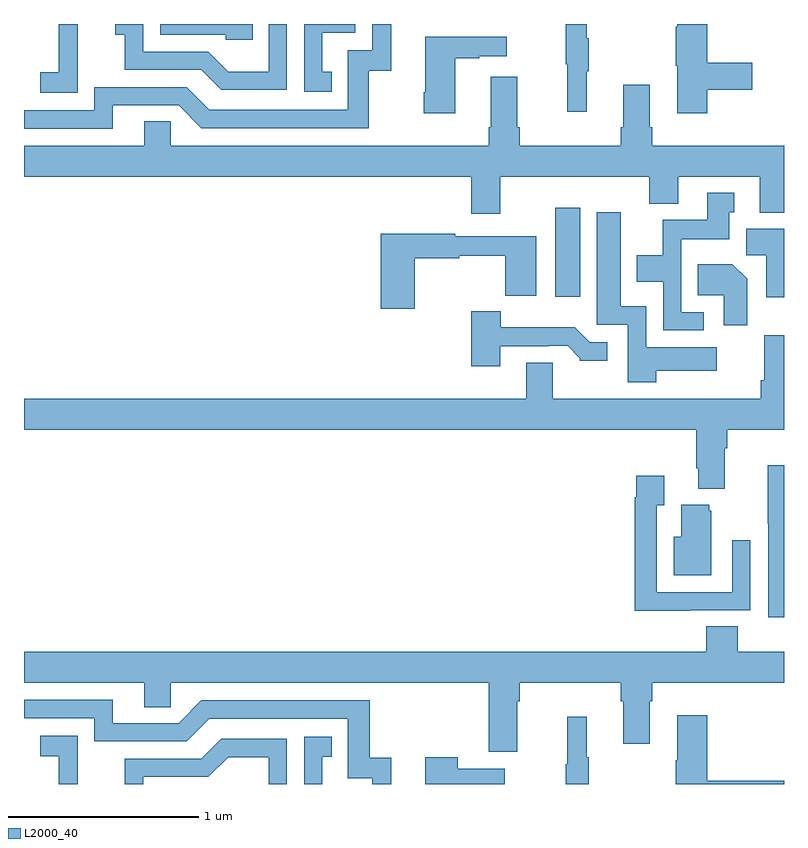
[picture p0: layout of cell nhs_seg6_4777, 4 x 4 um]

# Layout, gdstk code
import gdstk
lib = gdstk.Library(unit=1e-6, precision=1e-09)
def R(c, l, rs):  # rectangles x0, y0, x1, y1
    for r in rs: c.add(gdstk.rectangle(r[:2], r[2:], *l))
def P(c, l, *ps):  # polygons
    for p in ps: c.add(gdstk.Polygon(p, *l))
L2000_40 = (2000, 40)

nhs_seg6_4777 = lib.new_cell('nhs_seg6_4777')
R(nhs_seg6_4777, L2000_40, [(397.796,920.064,397.927,920.533)])
P(nhs_seg6_4777, L2000_40, [(396.203,921.5),(395.718,921.5),(395.718,921.444),(396.063,921.444),(396.063,921.417),(396.203,921.417)],
  [(395.283,921.343),(395.282,921.343),(395.282,921.5),(395.184,921.5),(395.184,921.476),(395.183,921.476),(395.183,921.247),(395.085,921.247),(395.085,921.137),(395.283,921.137)],
  [(396.62,921.249),(396.571,921.249),(396.571,921.453),(396.744,921.453),(396.744,921.5),(396.474,921.5),(396.474,921.144),(396.62,921.144)],
  [(397.961,921.251),(397.972,921.251),(397.972,921.425),(397.961,921.425),(397.961,921.5),(397.851,921.5),(397.851,921.288),(397.858,921.288),(397.858,921.039),(397.961,921.039)],
  [(395.467,921.072),(395.814,921.072),(395.934,920.952),(396.814,920.952),(396.814,921.255),(396.932,921.255),(396.932,921.5),(396.834,921.5),(396.834,921.363),(396.705,921.363),(396.705,921.048),(395.976,921.048),(395.856,921.168),(395.37,921.168),(395.37,921.045),(395,921.045),(395,920.949),(395.467,920.949)],
  [(398.597,921.154),(398.833,921.154),(398.833,921.296),(398.597,921.296),(398.597,921.5),(398.438,921.5),(398.438,921.485),(398.431,921.485),(398.431,921.279),(398.438,921.279),(398.438,921.03),(398.597,921.03)],
  [(396.384,921.5),(396.288,921.5),(396.288,921.25),(396.074,921.25),(395.97,921.354),(395.628,921.354),(395.628,921.5),(395.481,921.5),(395.481,921.443),(395.53,921.443),(395.53,921.258),(395.933,921.258),(396.038,921.153),(396.384,921.153)],
  [(397.27,921.319),(397.397,921.319),(397.397,921.329),(397.54,921.329),(397.54,921.433),(397.112,921.433),(397.112,921.142),(397.105,921.142),(397.105,921.03),(397.27,921.03)],
  [(397.507,920.696),(398.291,920.696),(398.291,920.555),(398.443,920.555),(398.443,920.696),(398.873,920.696),(398.873,920.507),(399,920.507),(399,920.86),(398.306,920.86),(398.306,920.956),(398.293,920.956),(398.293,921.181),(398.153,921.181),(398.153,920.956),(398.141,920.956),(398.141,920.86),(397.61,920.86),(397.61,920.956),(397.597,920.956),(397.597,921.223),(397.457,921.223),(397.457,920.956),(397.445,920.956),(397.445,920.86),(395.772,920.86),(395.772,920.987),(395.633,920.987),(395.633,920.86),(395,920.86),(395,920.696),(397.355,920.696),(397.355,920.502),(397.507,920.502)],
  [(398.578,919.983),(398.46,919.983),(398.46,920.366),(398.713,920.366),(398.713,920.508),(398.737,920.508),(398.737,920.611),(398.597,920.611),(398.597,920.47),(398.362,920.47),(398.362,920.284),(398.225,920.284),(398.225,920.144),(398.364,920.144),(398.364,919.887),(398.578,919.887)],
  [(398.327,919.676),(398.647,919.676),(398.647,919.798),(398.274,919.798),(398.274,920.014),(398.14,920.014),(398.14,920.509),(398.015,920.509),(398.015,919.917),(398.178,919.917),(398.178,919.614),(398.327,919.614)],
  [(399,920.422),(398.801,920.422),(398.801,920.284),(398.906,920.284),(398.906,920.063),(399,920.063)],
  [(397.056,920.266),(397.29,920.266),(397.29,920.281),(397.534,920.281),(397.534,920.069),(397.696,920.069),(397.696,920.382),(397.271,920.382),(397.271,920.395),(396.878,920.395),(396.878,920.001),(397.056,920.001)],
  [(398.806,920.158),(398.728,920.236),(398.545,920.236),(398.545,920.072),(398.684,920.072),(398.684,919.914),(398.806,919.914)],
  [(397.507,919.803),(397.763,919.803),(397.763,919.806),(397.862,919.806),(397.926,919.742),(397.926,919.727),(398.071,919.727),(398.071,919.824),(397.977,919.824),(397.899,919.903),(397.51,919.903),(397.51,919.987),(397.355,919.987),(397.355,919.698),(397.507,919.698)],
  [(398.689,919.268),(398.702,919.268),(398.702,919.364),(399,919.364),(399,919.861),(398.896,919.861),(398.896,919.624),(398.878,919.624),(398.878,919.528),(397.783,919.528),(397.783,919.718),(397.643,919.718),(397.643,919.528),(395,919.528),(395,919.364),(398.537,919.364),(398.537,919.162),(398.549,919.162),(398.549,919.055),(398.689,919.055)],
  [(399,919.178),(398.914,919.178),(398.914,918.871),(398.916,918.871),(398.916,918.378),(399,918.378)],
  [(398.507,918.414),(398.823,918.414),(398.823,918.784),(398.727,918.784),(398.727,918.51),(398.331,918.51),(398.331,918.967),(398.371,918.967),(398.371,919.123),(398.223,919.123),(398.223,919.01),(398.215,919.01),(398.215,918.413),(398.507,918.413)],
  [(398.617,918.939),(398.606,918.939),(398.606,918.97),(398.459,918.97),(398.459,918.802),(398.42,918.802),(398.42,918.599),(398.617,918.599)],
  [(397.597,917.936),(397.61,917.936),(397.61,918.032),(398.141,918.032),(398.141,917.936),(398.153,917.936),(398.153,917.712),(398.293,917.712),(398.293,917.936),(398.306,917.936),(398.306,918.032),(399,918.032),(399,918.196),(398.756,918.196),(398.756,918.329),(398.591,918.329),(398.591,918.196),(395,918.196),(395,918.032),(395.633,918.032),(395.633,917.905),(395.772,917.905),(395.772,918.032),(397.445,918.032),(397.445,917.67),(397.597,917.67)],
  [(396.932,917.638),(396.821,917.638),(396.821,917.94),(395.934,917.94),(395.814,917.82),(395.467,917.82),(395.467,917.943),(395,917.943),(395,917.847),(395.37,917.847),(395.37,917.724),(395.856,917.724),(395.976,917.844),(396.705,917.844),(396.705,917.529),(396.834,917.529),(396.834,917.5),(396.932,917.5)],
  [(399,917.516),(398.597,917.516),(398.597,917.863),(398.438,917.863),(398.438,917.624),(398.431,917.624),(398.431,917.5),(399,917.5)],
  [(397.972,917.641),(397.961,917.641),(397.961,917.854),(397.858,917.854),(397.858,917.604),(397.851,917.604),(397.851,917.5),(397.972,917.5)],
  [(395.282,917.549),(395.283,917.549),(395.283,917.755),(395.085,917.755),(395.085,917.645),(395.183,917.645),(395.183,917.5),(395.282,917.5)],
  [(396.571,917.643),(396.62,917.643),(396.62,917.749),(396.474,917.749),(396.474,917.5),(396.571,917.5)],
  [(395.628,917.538),(395.97,917.538),(396.074,917.642),(396.288,917.642),(396.288,917.5),(396.384,917.5),(396.384,917.739),(396.038,917.739),(395.933,917.634),(395.53,917.634),(395.53,917.5),(395.628,917.5)],
  [(397.531,917.581),(397.283,917.581),(397.283,917.641),(397.112,917.641),(397.112,917.5),(397.531,917.5)])

lib.write_gds('nhs_seg6_4777.gds')
